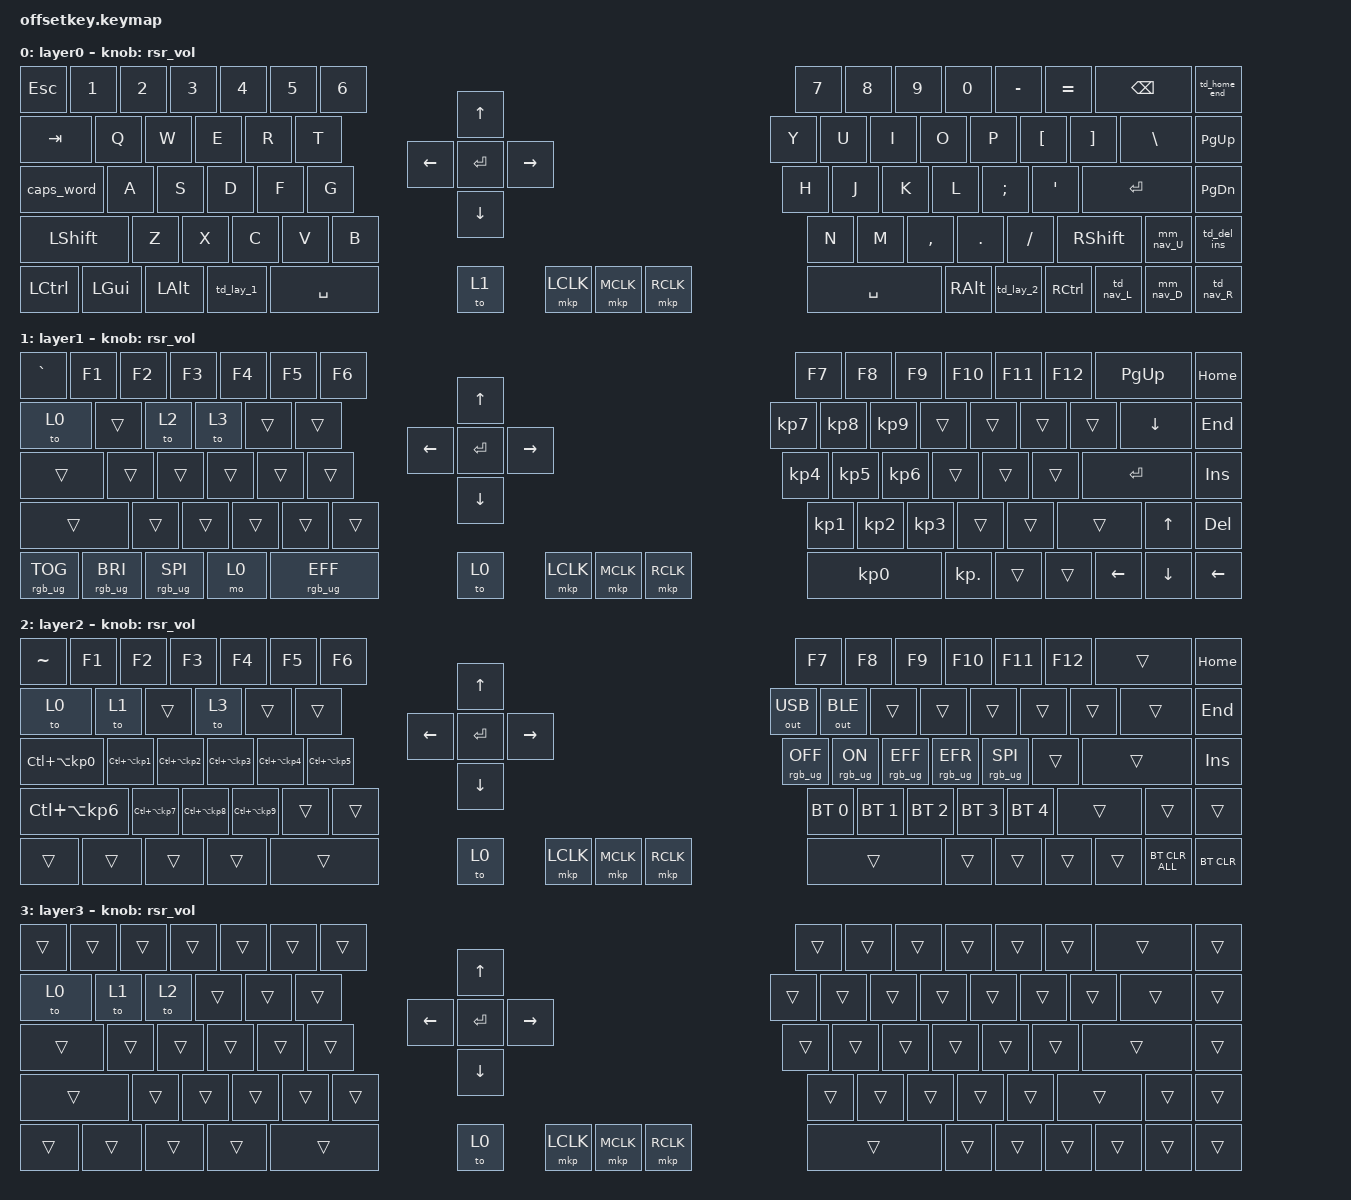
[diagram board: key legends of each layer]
#define ZMK_POINTING_DEFAULT_MOVE_VAL 1200  // 600
#define ZMK_POINTING_DEFAULT_SCRL_VAL 35    // 10
#define BASE 0
#define LOWER 1
#define MOUSE_KEYS 2
#define MOUSE_TP 3
#define MOUSE_TP_SET 4

#include <input/processors.dtsi>
#include <zephyr/dt-bindings/input/input-event-codes.h>
#include <behaviors/toggle_io.dtsi>
#include <behaviors/on_io.dtsi>
#include <behaviors/off_io.dtsi>
#include <input/processors.dtsi>
#include <behaviors/runtime-sensor-rotate.dtsi>
#include <behaviors.dtsi>
#include <dt-bindings/zmk/bt.h>
#include <dt-bindings/zmk/keys.h>
#include <dt-bindings/zmk/outputs.h>
#include <dt-bindings/zmk/pointing.h>
#include <dt-bindings/zmk/rgb.h>

&mmv_input_listener { input-processors = <&zip_xy_scaler 2 1>; };

&msc_input_listener { input-processors = <&zip_scroll_scaler 2 1>; };

&msc {
    acceleration-exponent = <0>;      // 0
    time-to-max-speed-ms = <0>;       // 300
    delay-ms = <0>;                   // 0
};

&mmv {
    time-to-max-speed-ms = <400>;
    acceleration-exponent = <1>;
};

/ {
    behaviors {
        ltq: ltq {
            compatible = "zmk,behavior-hold-tap";
            label = "LTQ";
            bindings = <&mo>, <&kp>;

            #binding-cells = <2>;
            tapping-term-ms = <200>;
            quick-tap-ms = <180>;
        };

        rsr_vol: rsr_vol {
            compatible = "zmk,behavior-runtime-sensor-rotate";
            #sensor-binding-cells = <0>;
            tap-ms = <5>;
            cw-binding = <&kp C_VOL_UP>;
            ccw-binding = <&kp C_VOL_DN>;
        };

        td_lay_1: td_lay_1 {
            compatible = "zmk,behavior-tap-dance";
            label = "TD_LAY_1";
            #binding-cells = <0>;
            bindings = <&mo 1>, <&to 1>;

            tapping-term-ms = <180>;
        };

        td_lay_2: td_lay_2 {
            compatible = "zmk,behavior-tap-dance";
            label = "TD_LAY_2";
            #binding-cells = <0>;
            bindings = <&mo 2>, <&to 2>;

            tapping-term-ms = <180>;
        };

        mm_nav_U: mm_nav_U {
            compatible = "zmk,behavior-mod-morph";
            label = "MM_NAV_U";
            bindings = <&kp UP_ARROW>, <&kp HOME>;

            #binding-cells = <0>;
            mods = <(MOD_LCTL|MOD_RCTL)>;
            keep-mods = <(MOD_LCTL|MOD_RCTL)>;
        };

        mm_nav_D: mm_nav_D {
            compatible = "zmk,behavior-mod-morph";
            label = "MM_NAV_D";
            bindings = <&kp DOWN>, <&kp END>;

            #binding-cells = <0>;
            mods = <(MOD_LCTL|MOD_RCTL)>;
            keep-mods = <(MOD_LCTL|MOD_RCTL)>;
        };

        td_nav_L: td_nav_L {
            compatible = "zmk,behavior-tap-dance";
            label = "TD_NAV_L";
            #binding-cells = <0>;
            bindings = <&kp LEFT>, <&kp HOME>;
        };

        td_nav_R: td_nav_R {
            compatible = "zmk,behavior-tap-dance";
            label = "TD_NAV_R";
            #binding-cells = <0>;
            bindings = <&kp RIGHT>, <&kp END>;
        };

        td_home_end: td_home_end {
            compatible = "zmk,behavior-tap-dance";
            label = "TD_HOME_END";
            #binding-cells = <0>;
            bindings = <&kp HOME>, <&kp END>;
        };

        td_del_ins: td_del_ins {
            compatible = "zmk,behavior-tap-dance";
            label = "TD_DEL_INS";
            #binding-cells = <0>;
            bindings = <&kp DEL>, <&kp INS>;
        };
    };

    macros {
        ctrl_home: ctrl_home {
            compatible = "zmk,behavior-macro";
            #binding-cells = <0>;
            wait-ms = <40>;
            tap-ms = <40>;
            bindings =
                <&macro_press>,
                <&kp RCTRL &kp HOME>,
                <&macro_release>,
                <&kp RCTRL>;
        };

        ctrl_end: ctrl_end {
            compatible = "zmk,behavior-macro";
            #binding-cells = <0>;
            wait-ms = <40>;
            tap-ms = <40>;
            bindings =
                <&macro_press>,
                <&kp RCTRL &kp END>,
                <&macro_release>,
                <&kp RCTRL>;
        };
    };

    combos {
        compatible = "zmk,combos";

        flash {
            bindings = <&bootloader>;
            key-positions = <0 11>;
        };
    };

    keymap {
        compatible = "zmk,keymap";

        BASE {
            // TODO: Change diagram to match keymap after finalising the keys for each layer
            // --------------------------------------------------   Layer 0   -------------------------------------------------------------------------
            //                                                             5 Way Button
            // ╭───────┬───────┬───────┬───────┬───────┬───────┬──────┬──────────────────────────────┬───────┬───────┬───────┬───────┬───────┬───────┬───────┬───────┬───────╮
            // |  ESC  |   1   |   2   |   3   |   4   |   5   |   6  |          Up                  |   7   |   8   |   9   |   0   |   -   |   =   |     BKSP      |  END  |
            // |   TAB   |   Q   |   W   |   E   |   R   |   T   |        Left  Enter  Right      |   Y   |   U   |   I   |   O   |   P   |   [   |   ]   |     \    |  PGUP |
            // |   CAPL   |   A   |   S   |   D   |   F   |   G   |             Down                 |   H   |   J   |   K   |   L   |   ;   |   '   |    ENTER      |  PGDN |
            // |  SHIFT    |   Z   |   X   |   C   |   V   |   B   |                                     |   N   |   M   |   ,   |   .   |   /   |  SHIFT   |   UP   |  DEL  |
            // | CNTRL |   WIN   |  ALT  |  FNC  |      SPACE      |        L1          LM  CM  RM       |        SPACE        |  ALT  |  FNC  | CTRL |  LFT  |  DN  |  RGT  |
            // ╰───────┴──────────┴──────┴───────┴─────────────────┴─────────────────────────────────────┴─────────────────────┴───────┴───────┴──────┴───────┴──────┴───────╯
            // |                                                          Encoder      Scroll Wheel
            //                                                            Button    |   Buttons

            bindings = <
&kp ESC       &kp N1          &kp N2           &kp N3          &kp N4     &kp N5     &kp N6      &kp N7     &kp N8     &kp N9         &kp N0     &kp MINUS  &kp EQUAL        &kp BSPC   &td_home_end
&kp TAB       &kp Q           &kp W            &kp E           &kp R      &kp T                  &kp Y      &kp U      &kp I          &kp O      &kp P      &kp LBKT         &kp RBKT   &kp BSLH       &kp PAGE_UP
&caps_word    &kp A           &kp S            &kp D           &kp F      &kp G                  &kp H      &kp J      &kp K          &kp L      &kp SEMI   &kp APOS         &kp ENTER  &kp PAGE_DOWN
&kp LSHFT     &kp Z           &kp X            &kp C           &kp V      &kp B                  &kp N      &kp M      &kp COMMA      &kp DOT    &kp FSLH   &kp RIGHT_SHIFT  &mm_nav_U  &td_del_ins
&kp LCTRL     &kp LEFT_GUI    &kp LEFT_ALT     &td_lay_1                  &kp SPACE                         &kp SPACE  &kp RIGHT_ALT  &td_lay_2  &kp RCTRL  &td_nav_L        &mm_nav_D  &td_nav_R
&kp UP_ARROW  &kp LEFT_ARROW  &kp RIGHT_ARROW  &kp DOWN_ARROW  &kp ENTER  &to 1                  &mkp LCLK  &mkp MCLK  &mkp RCLK
            >;

            label = "layer0";
            sensor-bindings = <&rsr_vol>;
        };

        layer_1 {
            // TODO: Change diagram to match keymap after finalising the keys for each layer
            // --------------------------------------------------   Layer 1   -------------------------------------------------------------------------
            //                                                             5 Way Button
            // ╭───────┬───────┬───────┬───────┬───────┬───────┬──────┬──────────────────────────────┬───────┬───────┬───────┬───────┬───────┬───────┬───────┬───────┬───────╮
            // |  ESC  |   1   |   2   |   3   |   4   |   5   |   6  |          Up                  |   7   |   8   |   9   |   0   |   -   |   =   |     BKSP      |  END  |
            // |   TAB   |   Q   |   W   |   E   |   R   |   T   |        Left  Enter  Right      |   Y   |   U   |   I   |   O   |   P   |   [   |   ]   |     \    |  PGUP |
            // |   CAPL   |   A   |   S   |   D   |   F   |   G   |             Down                 |   H   |   J   |   K   |   L   |   ;   |   '   |    ENTER      |  PGDN |
            // |  SHIFT    |   Z   |   X   |   C   |   V   |   B   |                                     |   N   |   M   |   ,   |   .   |   /   |  SHIFT   |   UP   |  DEL  |
            // | CNTRL |   WIN   |  ALT  |  FNC  |      SPACE      |        L1          LM  CM  RM       |        SPACE        |  ALT  |  FNC  | CTRL |  LFT  |  DN  |  RGT  |
            // ╰───────┴──────────┴──────┴───────┴─────────────────┴─────────────────────────────────────┴─────────────────────┴───────┴───────┴──────┴───────┴──────┴───────╯
            // |                                                          Encoder      Scroll Wheel
            //                                                            Button    |   Buttons

            bindings = <
&kp GRAVE        &kp F1           &kp F2           &kp F3          &kp F4     &kp F5           &kp F6      &kp F7           &kp F8           &kp F9           &kp F10  &kp F11  &kp F12   &kp PAGE_UP  &kp HOME
&to 0            &trans           &to 2            &to 3           &trans     &trans                       &kp KP_NUMBER_7  &kp KP_NUMBER_8  &kp KP_NUMBER_9  &trans   &trans   &trans    &trans       &kp DOWN    &kp END
&trans           &trans           &trans           &trans          &trans     &trans                       &kp KP_NUMBER_4  &kp KP_NUMBER_5  &kp KP_NUMBER_6  &trans   &trans   &trans    &kp ENTER    &kp INSERT
&trans           &trans           &trans           &trans          &trans     &trans                       &kp KP_NUMBER_1  &kp KP_NUMBER_2  &kp KP_NUMBER_3  &trans   &trans   &trans    &kp UP       &kp DELETE
&rgb_ug RGB_TOG  &rgb_ug RGB_BRI  &rgb_ug RGB_SPI  &mo 0                      &rgb_ug RGB_EFF                               &kp KP_NUMBER_0  &kp KP_DOT       &trans   &trans   &kp LEFT  &kp DOWN     &kp LEFT
&kp UP_ARROW     &kp LEFT_ARROW   &kp RIGHT_ARROW  &kp DOWN_ARROW  &kp ENTER  &to 0                        &mkp LCLK        &mkp MCLK        &mkp RCLK
            >;

            label = "layer1";
            sensor-bindings = <&rsr_vol>;
        };

        layer_2 {
            // TODO: Change diagram to match keymap after finalising the keys for each layer
            // --------------------------------------------------   Layer 2   -------------------------------------------------------------------------
            //                                                             5 Way Button
            // ╭───────┬───────┬───────┬───────┬───────┬───────┬──────┬──────────────────────────────┬───────┬───────┬───────┬───────┬───────┬───────┬───────┬───────┬───────╮
            // |  ESC  |   1   |   2   |   3   |   4   |   5   |   6  |          Up                  |   7   |   8   |   9   |   0   |   -   |   =   |     BKSP      |  END  |
            // |   TAB   |   Q   |   W   |   E   |   R   |   T   |        Left  Enter  Right      |   Y   |   U   |   I   |   O   |   P   |   [   |   ]   |     \    |  PGUP |
            // |   CAPL   |   A   |   S   |   D   |   F   |   G   |             Down                 |   H   |   J   |   K   |   L   |   ;   |   '   |    ENTER      |  PGDN |
            // |  SHIFT    |   Z   |   X   |   C   |   V   |   B   |                                     |   N   |   M   |   ,   |   .   |   /   |  SHIFT   |   UP   |  DEL  |
            // | CNTRL |   WIN   |  ALT  |  FNC  |      SPACE      |        L1          LM  CM  RM       |        SPACE        |  ALT  |  FNC  | CTRL |  LFT  |  DN  |  RGT  |
            // ╰───────┴──────────┴──────┴───────┴─────────────────┴─────────────────────────────────────┴─────────────────────┴───────┴───────┴──────┴───────┴──────┴───────╯
            // |                                                          Encoder      Scroll Wheel
            //                                                            Button    |   Buttons

            bindings = <
&kp TILDE                &kp F1                   &kp F2                   &kp F3                   &kp F4                   &kp F5                   &kp F6      &kp F7           &kp F8          &kp F9           &kp F10          &kp F11          &kp F12  &trans          &kp HOME
&to 0                    &to 1                    &trans                   &to 3                    &trans                   &trans                               &out OUT_USB     &out OUT_BLE    &trans           &trans           &trans           &trans   &trans          &trans      &kp END
&kp LC(LA(KP_NUMBER_0))  &kp LC(LA(KP_NUMBER_1))  &kp LC(LA(KP_NUMBER_2))  &kp LC(LA(KP_NUMBER_3))  &kp LC(LA(KP_NUMBER_4))  &kp LC(LA(KP_NUMBER_5))              &rgb_ug RGB_OFF  &rgb_ug RGB_ON  &rgb_ug RGB_EFF  &rgb_ug RGB_EFR  &rgb_ug RGB_SPI  &trans   &trans          &kp INSERT
&kp LC(LA(KP_NUMBER_6))  &kp LC(LA(KP_NUMBER_7))  &kp LC(LA(KP_NUMBER_8))  &kp LC(LA(KP_NUMBER_9))  &trans                   &trans                               &bt BT_SEL 0     &bt BT_SEL 1    &bt BT_SEL 2     &bt BT_SEL 3     &bt BT_SEL 4     &trans   &trans          &trans
&trans                   &trans                   &trans                   &trans                                            &trans                                                &trans          &trans           &trans           &trans           &trans   &bt BT_CLR_ALL  &bt BT_CLR
&kp UP_ARROW             &kp LEFT_ARROW           &kp RIGHT_ARROW          &kp DOWN_ARROW           &kp ENTER                &to 0                                &mkp LCLK        &mkp MCLK       &mkp RCLK
            >;

            label = "layer2";
            sensor-bindings = <&rsr_vol>;
        };

        layer_3 {
            // TODO: Change diagram to match keymap after finalising the keys for each layer
            // --------------------------------------------------   Layer 3   -------------------------------------------------------------------------
            //                                                             5 Way Button
            // ╭───────┬───────┬───────┬───────┬───────┬───────┬──────┬──────────────────────────────┬───────┬───────┬───────┬───────┬───────┬───────┬───────┬───────┬───────╮
            // |  ESC  |   1   |   2   |   3   |   4   |   5   |   6  |          Up                  |   7   |   8   |   9   |   0   |   -   |   =   |     BKSP      |  END  |
            // |   TAB   |   Q   |   W   |   E   |   R   |   T   |        Left  Enter  Right      |   Y   |   U   |   I   |   O   |   P   |   [   |   ]   |     \    |  PGUP |
            // |   CAPL   |   A   |   S   |   D   |   F   |   G   |             Down                 |   H   |   J   |   K   |   L   |   ;   |   '   |    ENTER      |  PGDN |
            // |  SHIFT    |   Z   |   X   |   C   |   V   |   B   |                                     |   N   |   M   |   ,   |   .   |   /   |  SHIFT   |   UP   |  DEL  |
            // | CNTRL |   WIN   |  ALT  |  FNC  |      SPACE      |        L1          LM  CM  RM       |        SPACE        |  ALT  |  FNC  | CTRL |  LFT  |  DN  |  RGT  |
            // ╰───────┴──────────┴──────┴───────┴─────────────────┴─────────────────────────────────────┴─────────────────────┴───────┴───────┴──────┴───────┴──────┴───────╯
            // |                                                          Encoder      Scroll Wheel
            //                                                            Button    |   Buttons

            bindings = <
&trans        &trans          &trans           &trans          &trans     &trans  &trans      &trans     &trans     &trans     &trans  &trans  &trans  &trans  &trans
&to 0         &to 1           &to 2            &trans          &trans     &trans              &trans     &trans     &trans     &trans  &trans  &trans  &trans  &trans  &trans
&trans        &trans          &trans           &trans          &trans     &trans              &trans     &trans     &trans     &trans  &trans  &trans  &trans  &trans
&trans        &trans          &trans           &trans          &trans     &trans              &trans     &trans     &trans     &trans  &trans  &trans  &trans  &trans
&trans        &trans          &trans           &trans                     &trans                         &trans     &trans     &trans  &trans  &trans  &trans  &trans
&kp UP_ARROW  &kp LEFT_ARROW  &kp RIGHT_ARROW  &kp DOWN_ARROW  &kp ENTER  &to 0               &mkp LCLK  &mkp MCLK  &mkp RCLK
            >;

            label = "layer3";
            sensor-bindings = <&rsr_vol>;
        };
    };
};
